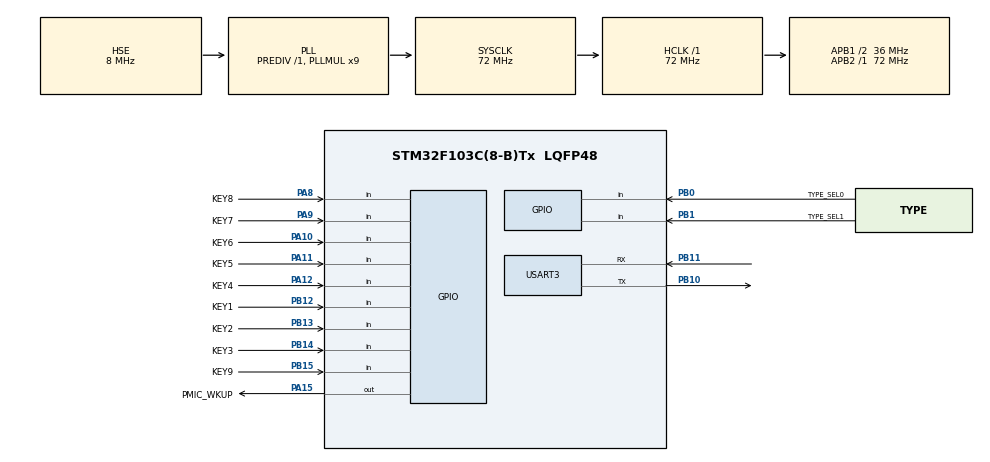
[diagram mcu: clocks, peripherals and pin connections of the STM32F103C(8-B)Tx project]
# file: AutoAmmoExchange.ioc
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Dma.Request0=USART3_TX
Dma.USART3_TX.0.Direction=DMA_MEMORY_TO_PERIPH
Dma.USART3_TX.0.Instance=DMA1_Channel2
Dma.USART3_TX.0.MemDataAlignment=DMA_MDATAALIGN_BYTE
Dma.USART3_TX.0.MemInc=DMA_MINC_ENABLE
Dma.USART3_TX.0.Mode=DMA_NORMAL
Dma.USART3_TX.0.PeriphDataAlignment=DMA_PDATAALIGN_BYTE
Dma.USART3_TX.0.PeriphInc=DMA_PINC_DISABLE
Dma.USART3_TX.0.Priority=DMA_PRIORITY_LOW
Mcu.Family=STM32F1
Mcu.Name=STM32F103C(8-B)Tx
Mcu.Package=LQFP48
NVIC.DMA1_Channel2_IRQn=true\:0\:0\:false\:false\:true\:false\:true\:true
NVIC.PriorityGroup=NVIC_PRIORITYGROUP_4
NVIC.USART3_IRQn=true\:0\:0\:false\:false\:true\:false\:true\:true
PA10.GPIO_Label=KEY6
PA10.GPIO_PuPd=GPIO_PULLDOWN
PA10.Signal=GPIO_Input
PA11.GPIO_Label=KEY5
PA11.GPIO_PuPd=GPIO_PULLDOWN
PA11.Signal=GPIO_Input
PA12.GPIO_Label=KEY4
PA12.GPIO_PuPd=GPIO_PULLDOWN
PA12.Signal=GPIO_Input
PA13.Mode=Serial_Wire
PA13.Signal=SYS_JTMS-SWDIO
PA14.Mode=Serial_Wire
PA14.Signal=SYS_JTCK-SWCLK
PA15.GPIO_Label=PMIC_WKUP
PA15.GPIO_ModeDefaultOutputPP=GPIO_MODE_OUTPUT_OD
PA15.GPIO_PuPd=GPIO_NOPULL
PA15.Signal=GPIO_Output
PA8.GPIO_Label=KEY8
PA8.GPIO_PuPd=GPIO_PULLDOWN
PA8.Signal=GPIO_Input
PA9.GPIO_Label=KEY7
PA9.GPIO_PuPd=GPIO_PULLDOWN
PA9.Signal=GPIO_Input
PB0.GPIO_Label=TYPE_SEL0
PB0.GPIO_PuPd=GPIO_PULLDOWN
PB0.Signal=GPIO_Input
PB1.GPIO_Label=TYPE_SEL1
PB1.GPIO_PuPd=GPIO_PULLDOWN
PB1.Signal=GPIO_Input
PB10.Mode=Asynchronous
PB10.Signal=USART3_TX
PB11.Mode=Asynchronous
PB11.Signal=USART3_RX
PB12.GPIO_Label=KEY1
PB12.GPIO_PuPd=GPIO_PULLDOWN
PB12.Signal=GPIO_Input
PB13.GPIO_Label=KEY2
PB13.GPIO_PuPd=GPIO_PULLDOWN
PB13.Signal=GPIO_Input
PB14.GPIO_Label=KEY3
PB14.GPIO_PuPd=GPIO_PULLDOWN
PB14.Signal=GPIO_Input
PB15.GPIO_Label=KEY9
PB15.GPIO_PuPd=GPIO_PULLDOWN
PB15.Signal=GPIO_Input
PD0-OSC_IN.Mode=HSE-External-Oscillator
PD0-OSC_IN.Signal=RCC_OSC_IN
PD1-OSC_OUT.Mode=HSE-External-Oscillator
PD1-OSC_OUT.Signal=RCC_OSC_OUT
ProjectManager.HeapSize=0x800
ProjectManager.StackSize=0x800
ProjectManager.TargetToolchain=MDK-ARM V5.32
RCC.AHBFreq_Value=72000000
RCC.APB1CLKDivider=RCC_HCLK_DIV2
RCC.APB1Freq_Value=36000000
RCC.APB1TimFreq_Value=72000000
RCC.APB2Freq_Value=72000000
RCC.APB2TimFreq_Value=72000000
RCC.HCLKFreq_Value=72000000
RCC.PLLMUL=RCC_PLL_MUL9
RCC.PLLSourceVirtual=RCC_PLLSOURCE_HSE
RCC.SYSCLKFreq_VALUE=72000000
RCC.SYSCLKSource=RCC_SYSCLKSOURCE_PLLCLK
RCC.USBFreq_Value=72000000
USART3.VirtualMode=VM_ASYNC
board=custom

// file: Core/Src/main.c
/* USER CODE BEGIN Header */
/**
  ******************************************************************************
  * @file           : main.c
  * @brief          : Main program body
  ******************************************************************************
  * @attention
  *
  * Copyright (c) 2026 STMicroelectronics.
  * All rights reserved.
  *
  * This software is licensed under terms that can be found in the LICENSE file
  * in the root directory of this software component.
  * If no LICENSE file comes with this software, it is provided AS-IS.
  *
  ******************************************************************************
  */
/* USER CODE END Header */
#include "main.h"
#include "dma.h"
#include "usart.h"
#include "gpio.h"

/* USER CODE BEGIN Includes */

#include "aae.h"
#include "key.h"
#include "bit_ops.h"

/* USER CODE END Includes */

/* USER CODE BEGIN PD */

#define KEY_NUM 3

/* USER CODE END PD */

/* USER CODE BEGIN PV */

enum RobotType_e{
  HERO = 0,
  INFANTRY = 1,
  ENGINEER = 2,
  DRONE = 3,
}RobotType;

void Key1_DownCallback();
void Key2_DownCallback();
void Key3_DownCallback();

Key_Handle_t Key1 = {
  .KeyGpioPort = KEY1_GPIO_Port,
  .KeyGpioPin = KEY1_Pin,
  .KeyDownCallback = &Key1_DownCallback,
};
Key_Handle_t Key2 = {
  .KeyGpioPort = KEY2_GPIO_Port,
  .KeyGpioPin = KEY2_Pin,
  .KeyDownCallback = &Key2_DownCallback,
};
Key_Handle_t Key3 = {
  .KeyGpioPort = KEY3_GPIO_Port,
  .KeyGpioPin = KEY3_Pin,
  .KeyDownCallback = &Key3_DownCallback,
};

Key_Handle_t* KeyHandleArr[KEY_NUM] = {&Key1, &Key2, &Key3};
volatile uint16_t KeyScanMask = 0xFFFF;  // 按键扫描标志位 0表示不扫描该按键
volatile uint16_t TaskExecFlags = 0x0000;
uint8_t IsRunningMacro = 0;

/* USER CODE END PV */

void SystemClock_Config(void);
/* USER CODE BEGIN PFP */

void Key1_DownCallback(){
  __SET_BIT(TaskExecFlags, 0);
}

void Key2_DownCallback(){
  __SET_BIT(TaskExecFlags, 1);
}

void Key3_DownCallback(){
  __SET_BIT(TaskExecFlags, 2);
}

// 模拟短按电管按钮，阻止休眠
// 低电平有效，周期5秒，100ms低 + 4900ms高
void WakeupPMIC(){
  static uint16_t cnt = 0;
  cnt++;
  if(cnt < 100){
    HAL_GPIO_WritePin(PMIC_WKUP_GPIO_Port, PMIC_WKUP_Pin, 0);
  }
  else{
    HAL_GPIO_WritePin(PMIC_WKUP_GPIO_Port, PMIC_WKUP_Pin, 1);
  }
  if(cnt >= 5000){
    cnt = 0;
  }
}

/* 毫秒中断按键响应逻辑
 * 检测到某一按键按下时，将KeyScanMask的对应位置1，其它位为0，使程序不再响应其它按键
 * 若识别为误触，或者对应的键盘宏执行完毕，将KeyScanMask全部置1，响应所有按键
 * 若键盘宏执行过程中按键松开，通过IsRunningMacro标志阻止KeyScanMask全部置1，直到键盘宏执行完毕
*/
void HAL_IncTick(){
  uwTick += uwTickFreq;

  for(uint8_t i = 0; i < KEY_NUM; i++){
    if(__CHECK_BIT(KeyScanMask, i)){
      Key_Check(KeyHandleArr[i]);
    }

    if(!IsRunningMacro){
      if(KeyHandleArr[i]->KeyState != KEY_UP){
        KeyScanMask = 0x0000;
        __SET_BIT(KeyScanMask, i);
      }
      else{
        KeyScanMask = 0xFFFF;
      }
    }
  }

  WakeupPMIC();
}

/* USER CODE END PFP */

int main(void)
{

  /* MCU Configuration--------------------------------------------------------*/

  /* Reset of all peripherals, Initializes the Flash interface and the Systick. */
  HAL_Init();

  /* Configure the system clock */
  SystemClock_Config();

  /* Initialize all configured peripherals */
  MX_GPIO_Init();
  MX_DMA_Init();
  MX_USART3_UART_Init();
  /* USER CODE BEGIN 2 */

  HAL_GPIO_WritePin(PMIC_WKUP_GPIO_Port, PMIC_WKUP_Pin, 1);

  HAL_Delay(10);
  for(uint8_t i = 0; i < KEY_NUM; i++){
    Key_Init(KeyHandleArr[i]);
  }

  RobotType = (HAL_GPIO_ReadPin(TYPE_SEL1_GPIO_Port, TYPE_SEL1_Pin) << 1) | HAL_GPIO_ReadPin(TYPE_SEL0_GPIO_Port, TYPE_SEL0_Pin);

  /* USER CODE END 2 */

  /* Infinite loop */
  while (1)
  {

    /* USER CODE BEGIN 3 */

    // KEY1 基地买弹
    if(__CHECK_BIT(TaskExecFlags, 0)){
      __CLEAR_BIT(TaskExecFlags, 0);
      IsRunningMacro = 1;
      KeyScanMask = 0x00;
      if(RobotType == HERO){
        AAE_BuyAmmoBase_Hero();
      }
      else{
        AAE_BuyAmmoBase_Infantry();
      }
      KeyScanMask = 0xFF;
      IsRunningMacro = 0;
    }

    // KEY2 远程买弹
    if(__CHECK_BIT(TaskExecFlags, 1)){
      __CLEAR_BIT(TaskExecFlags, 1);
      IsRunningMacro = 1;
      KeyScanMask = 0x00;
      if(RobotType == HERO){
        AAE_BuyAmmoRemote_Hero();
      }
      else{
        AAE_BuyAmmoRemote_Infantry();
      }
      KeyScanMask = 0xFF;
      IsRunningMacro = 0;
    }

    // KEY3 远程买血
    if(__CHECK_BIT(TaskExecFlags, 2)){
      __CLEAR_BIT(TaskExecFlags, 2);
      IsRunningMacro = 1;
      KeyScanMask = 0x00;
      AAE_BuyHP();
      KeyScanMask = 0xFF;
      IsRunningMacro = 0;
    }
  }
  /* USER CODE END 3 */
}

void SystemClock_Config(void)
{
  RCC_OscInitTypeDef RCC_OscInitStruct = {0};
  RCC_ClkInitTypeDef RCC_ClkInitStruct = {0};

  /** Initializes the RCC Oscillators according to the specified parameters
  * in the RCC_OscInitTypeDef structure.
  */
  RCC_OscInitStruct.OscillatorType = RCC_OSCILLATORTYPE_HSE;
  RCC_OscInitStruct.HSEState = RCC_HSE_ON;
  RCC_OscInitStruct.HSEPredivValue = RCC_HSE_PREDIV_DIV1;
  RCC_OscInitStruct.HSIState = RCC_HSI_ON;
  RCC_OscInitStruct.PLL.PLLState = RCC_PLL_ON;
  RCC_OscInitStruct.PLL.PLLSource = RCC_PLLSOURCE_HSE;
  RCC_OscInitStruct.PLL.PLLMUL = RCC_PLL_MUL9;
  if (HAL_RCC_OscConfig(&RCC_OscInitStruct) != HAL_OK)
  {
    Error_Handler();
  }

  /** Initializes the CPU, AHB and APB buses clocks
  */
  RCC_ClkInitStruct.ClockType = RCC_CLOCKTYPE_HCLK|RCC_CLOCKTYPE_SYSCLK
                              |RCC_CLOCKTYPE_PCLK1|RCC_CLOCKTYPE_PCLK2;
  RCC_ClkInitStruct.SYSCLKSource = RCC_SYSCLKSOURCE_PLLCLK;
  RCC_ClkInitStruct.AHBCLKDivider = RCC_SYSCLK_DIV1;
  RCC_ClkInitStruct.APB1CLKDivider = RCC_HCLK_DIV2;
  RCC_ClkInitStruct.APB2CLKDivider = RCC_HCLK_DIV1;

  if (HAL_RCC_ClockConfig(&RCC_ClkInitStruct, FLASH_LATENCY_2) != HAL_OK)
  {
    Error_Handler();
  }
}

void Error_Handler(void)
{
  __disable_irq();
  while (1)
  {
  }
}
